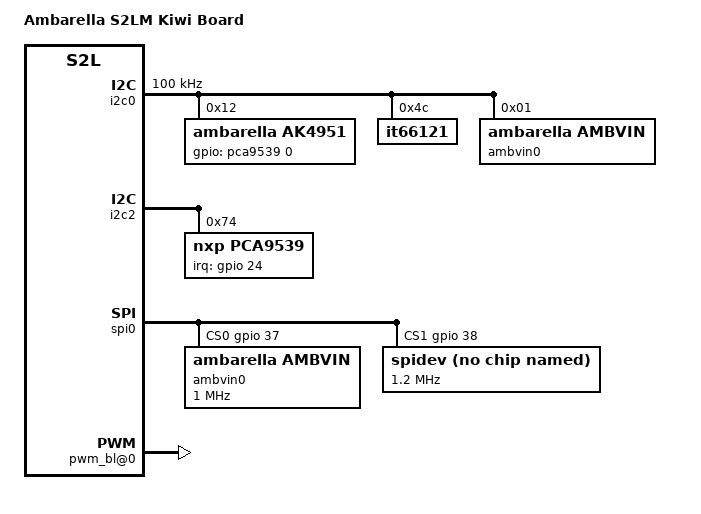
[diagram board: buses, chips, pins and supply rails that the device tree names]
/*
 * Copyright (C) 2013 Ambarella,Inc. - http://www.ambarella.com/
 * Author: Cao Rongrong <rrcao@ambarella.com>
 *
 * This program is free software; you can redistribute it and/or modify
 * it under the terms of the GNU General Public License version 2 as
 * published by the Free Software Foundation.
 */
/dts-v1/;

/include/ "ambarella-s2l.dtsi"

/ {
	model = "Ambarella S2LM Kiwi Board";
	compatible = "ambarella,s2lmkiwi", "ambarella,s2l";

	chosen {
		bootargs = "console=ttyS0 ubi.mtd=lnx root=ubi0:rootfs rw rootfstype=ubifs init=/linuxrc";
	};

	apb@e8000000 {
		i2c0: i2c@e8003000 {
			status = "ok";
			clock-frequency = <100000>;
			ak4951: codec@12 {
				compatible = "ambarella,ak4951";
				reg = <0x12>;
				gpios = <&pca9539 0 0x0>;
			};

			it66121@4c {
				compatible = "it66121";
				reg = <0x4c>;
			};

			ambvin0@01 {
				compatible = "ambarella,ambvin";
				reg = <0x01>;	/* fake address, will be overwritten in runtime */
			};
	        };

		i2c2: i2c@e8007000 {
			status = "ok";
			pca9539: pca9539@74 {
				compatible = "nxp,pca9539";
				reg = <0x74>;
				interrupt-parent = <&gpio>;
				interrupts = <24 0x0>;
				gpio-controller;
				#gpio-cells = <2>;
				interrupt-controller;
				#interrupt-cells = <2>;
			};
	        };

		adc@e801d000 {
			amb,keymap =
				/* channel 1 */
				<0x1fff0c1c 0>,   /* KEY_RESERVED */
				<0x1c1c0a8c 373>, /* KEY_MODE */
				<0x19600708 111>, /* KEY_DELETE */
				<0x154603e8 167>, /* KEY_RECORD */
				<0x1320012c 211>, /* KEY_HP */
				<0x10c80000 212>, /* KEY_CAMERA */
				/* channel 2 */
				<0x2fff0c1c 0>,   /* KEY_RESERVED */
				<0x2c1c0af0 139>, /* KEY_MENU */
				<0x2af007d0 106>, /* KEY_RIGHT */
				<0x27d003e8 105>, /* KEY_LEFT */
				<0x23e80190 108>, /* KEY_DOWN */
				<0x21900000 103>; /* KEY_UP */
		};

		ir@e8006000 {
			amb,protocol = <1>;
			amb,keymap =
				<0x0100bcbd 116>, /* KEY_POWER */
				<0x01000405 115>, /* KEY_VOLUMEUP */
				<0x01008485 114>; /* KEY_VOLUMEDOWN */
			/* amb,print-key; */
		};
	};

	ahb@e0000000 {
		sdmmc0@e0002000 {
			slot@0 {
				pwr-gpios = <&pca9539 14 0x1>;
				max-frequency = <50000000>;
				bus-width = <4>;
				no-1-8-v = <1>;
			};
		};

		sdmmc1@e000c000 {
			status = "disabled";
		};

		uart1: uart@e0032000 {
			compatible = "ambarella,uart";
			reg = <0xe0032000 0x1000>;
			interrupts = <25 0x4>;
			pinctrl-names = "default";
			pinctrl-0 = <&uart1_pins_d &uart1_flow_pins_e>;
			status = "disabled";
		};

		mac0: ethernet@e000e000 {
			phy@0 {
				rst-gpios = <&pca9539 11 0x0>;
			};
		};

		spi0: spi@e0020000 {
			cs-gpios = <&gpio 37 0>, <&gpio 38 0>;

			ambvin0@0 {
				compatible = "ambarella,ambvin";
				reg = <0>;
				spi-max-frequency = <1000000>;
				spi-cpha;
				spi-cpol;
			};

			spidev@1 {
				compatible = "ambarella,spidev";
				reg = <1>;
				spi-max-frequency = <1200000>;
				spi-cpha;
				spi-cpol;
			};
		};
	};

	rct@ec170000 {
		usbphy: usbphy@ec170050 {
			/* high will trigger the ocp interrupt */
			amb,ocp-polarity = <0>;
			pinctrl-names = "default";
			pinctrl-0 = <&usb_host0_pins>;
			id-gpios = <&pca9539 1 0x0>;
			md-gpios = <&pca9539 3 0x1>;
		};
	};

	sound {
		compatible = "ambarella,audio-board";
		amb,model = "ak4951 @ Ambarella";
		amb,i2s-controllers = <&i2s0>;
		amb,audio-codec = <&ak4951>;
		amb,dummy-codec = <&dummycodec>;
		amb,dai_fmt = <0>;
		amb,dummy_dai_fmt = <4>;
		amb,clk_fmt = <1>;
		amb,codec-name = "ak4951";
		amb,stream-name = "ak4951 PCM";
		amb,codec-dai-name = "ak4951-hifi";
		amb,audio-routing = "LIN2",	"Mic Bias",
				    "RIN2",	"Mic Bias",
				    "Mic Bias", "Mic internal",
				    "LIN3",	"Line In",
				    "RIN3",	"Line In",
				    "Line Out", "SPKLO",
				    "Line Out", "SPKLO",
				    "HP Jack",	"HPR",
				    "HP Jack",	"HPL",
				    "Speaker",	"SPKLO",
				    "Speaker",	"SPKLO";
	};

	bogus_bus {
		pwm_bl@0 {
			compatible = "pwm-backlight";
			reg = <0>;
			pwms = <&pwm 0 200000 0>;
			pinctrl-names = "default";
			pinctrl-0 = <&pwm0_pins_c>;
			brightness-levels =
				<0 1 2 3 4 5 6 7 8 9 10 11 12 13 14 15
				16 17 18 19 20 21 22 23 24 25 26 27 28 29 30 31
				32 33 34 35 36 37 38 39 40 41 42 43 44 45 46 47
				48 49 50 51 52 53 54 55 56 57 58 59 60 61 62 63
				64 65 66 67 68 69 70 71 72 73 74 75 76 77 78 79
				80 81 82 83 84 85 86 87 88 89 90 91 92 93 94 95
				96 97 98 99 100 101 102 103 104 105 106 107 108 109 110 111
				112 113 114 115 116 117 118 119 120 121 122 123 124 125 126 127
				128 129 130 131 132 133 134 135 136 137 138 139 140 141 142 143
				144 145 146 147 148 149 150 151 152 153 154 155 156 157 158 159
				160 161 162 163 164 165 166 167 168 169 170 171 172 173 174 175
				176 177 178 179 180 181 182 183 184 185 186 187 188 189 190 191
				192 193 194 195 196 197 198 199 200 201 202 203 204 205 206 207
				208 209 210 211 212 213 214 215 216 217 218 219 220 221 222 223
				224 225 226 227 228 229 230 231 232 233 234 235 236 237 238 239
				240 241 242 243 244 245 246 247 248 249 250 251 252 253 254 255>;
			default-brightness-level = <0>;
		};
	};

	iav {
		compatible = "ambarella,iav";

		/* node for vin controller */
		vinc0 {
			vinrst-gpios = <&pca9539 4 0>;
			/* vinpwr-gpios = <>; */
		};
	};
};

